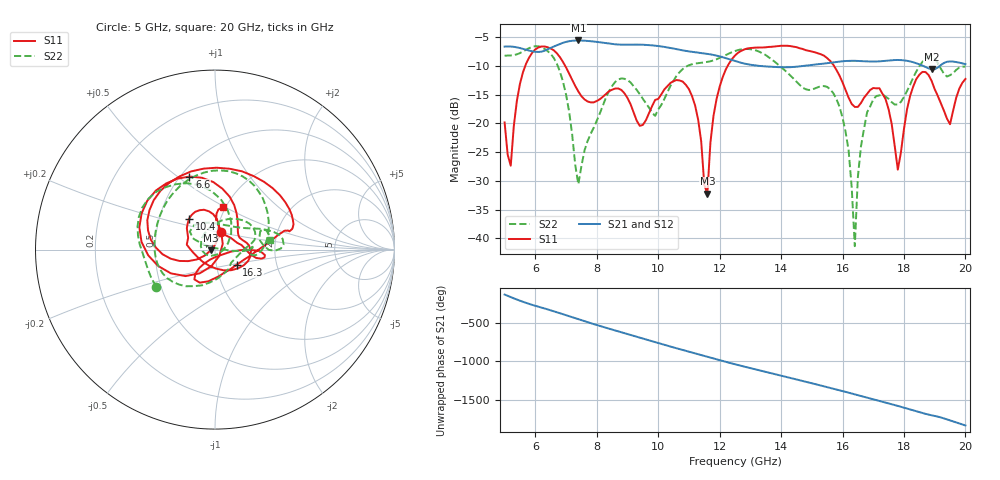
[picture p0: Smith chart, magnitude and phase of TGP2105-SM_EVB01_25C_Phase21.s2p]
! Date: Wednesday, June 05, 2013  1:50 PM
! Filename: C:\Data\Mike_Arnold\TGP2105-SM\Over_Temp\TGP2105-SM_EVB01_25C_Phase21.s2p
! Comments:
!^VDC(V):5.000
!^VDC(mA):0.099
!%Freq(GHz),S11(dB),S11(ang),S21(dB),S21(ang),S12(dB),S12(ang),S22(dB),S22(ang)
# GHz  S  DB  R  50
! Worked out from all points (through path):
!   151 points, 5 GHz to 20 GHz, reference 50 ohm
!   highest |S21| = -5.60 dB at 7.4 GHz (marker M1); lowest = -10.6 dB at 18.9 GHz (marker M2)
!   group delay of S21, straight-line fit = 307 ps
!   lowest |S11| = -32.2 dB at 11.6 GHz (marker M3), VSWR 1.05, Z = 47.7 - j0.449 ohm
!   |S11| at or under -10 dB: start of sweep to 5.674 GHz; 6.971 GHz to 12.26 GHz (5.293 GHz wide, 55 % of centre); 15.72 GHz to end of sweep
!   |S22| runs from -41.3 to -6.6 dB; largest |S21 - S12| = 0.0022
!   S11 on the Smith chart (normalised r, x): 5 GHz: 1.05, +0.20; 6.6 GHz: 0.55, +0.55; 10.4 GHz: 0.71, +0.26; 16.3 GHz: 1.25, -0.22; 20 GHz: 0.97, +0.49
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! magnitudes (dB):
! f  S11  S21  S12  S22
! 5 GHz  -19.8  -6.7  -6.7  -8.3
! 5.2 GHz  -27.4  -6.6  -6.7  -8.2
! 5.7 GHz  -9.6  -7.2  -7.2  -7.2
! 6.6 GHz  -7.3  -6.7  -6.7  -8.6
! 7.4 GHz  -14.5  -5.6  -5.6  -30.6
! 7.5 GHz  -15.3  -5.6  -5.6  -27.5
! 8.7 GHz  -13.9  -6.3  -6.3  -12.4
! 10 GHz  -15.8  -6.6  -6.6  -17.6
! 10.4 GHz  -13.0  -6.9  -6.9  -13.5
! 11.1 GHz  -15.3  -7.6  -7.6  -9.7
! 11.6 GHz  -32.2  -7.9  -7.9  -9.3
! 11.9 GHz  -15.8  -8.2  -8.3  -8.9
! 12.5 GHz  -8.2  -9.2  -9.2  -7.4
! 15 GHz  -7.5  -9.8  -9.9  -14.1
! 15.9 GHz  -11.7  -9.3  -9.3  -17.1
! 16.3 GHz  -16.6  -9.1  -9.2  -31.2
! 16.4 GHz  -17.2  -9.1  -9.2  -41.3
! 16.8 GHz  -14.9  -9.2  -9.3  -18.1
! 17.5 GHz  -17.5  -9.1  -9.1  -15.7
! 17.8 GHz  -28.0  -9.0  -9.0  -16.7
! 18.9 GHz  -12.6  -10.6  -10.7  -8.3
! 20 GHz  -12.3  -9.7  -9.8  -10.1
